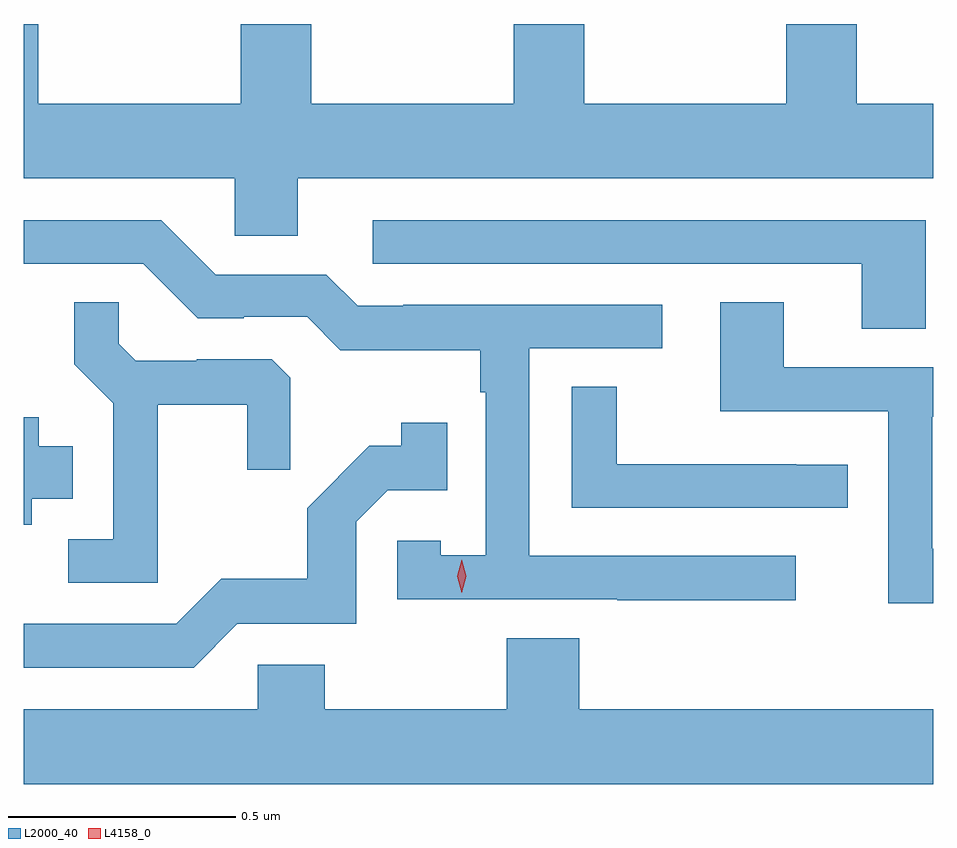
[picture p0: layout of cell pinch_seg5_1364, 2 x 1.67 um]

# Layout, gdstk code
import gdstk
lib = gdstk.Library(unit=1e-6, precision=1e-09)
def P(c, l, *ps):  # polygons
    for p in ps: c.add(gdstk.Polygon(p, *l))
L2000_40 = (2000, 40)
L4158_0 = (4158, 0)

pinch_seg5_1364 = lib.new_cell('pinch_seg5_1364')
P(pinch_seg5_1364, L2000_40, [(312.169,906.044),(313.566,906.044),(313.566,906.208),(313.398,906.208),(313.398,906.383),(313.243,906.383),(313.243,906.208),(312.798,906.208),(312.798,906.383),(312.643,906.383),(312.643,906.208),(312.198,906.208),(312.198,906.383),(312.043,906.383),(312.043,906.208),(311.598,906.208),(311.598,906.383),(311.566,906.383),(311.566,906.044),(312.03,906.044),(312.03,905.917),(312.169,905.917)],
  [(313.264,905.214),(312.678,905.214),(312.678,905.67),(312.97,905.67),(312.97,905.766),(312.4,905.766),(312.4,905.763),(312.3,905.763),(312.231,905.832),(311.988,905.832),(311.868,905.952),(311.566,905.952),(311.566,905.856),(311.829,905.856),(311.949,905.736),(312.05,905.736),(312.05,905.739),(312.189,905.739),(312.262,905.666),(312.57,905.666),(312.57,905.573),(312.582,905.573),(312.582,905.215),(312.483,905.215),(312.483,905.247),(312.387,905.247),(312.387,905.118),(312.871,905.118),(312.871,905.116),(313.264,905.116)],
  [(313.549,905.952),(312.333,905.952),(312.333,905.856),(313.409,905.856),(313.409,905.713),(313.549,905.713)],
  [(311.861,905.546),(312.058,905.546),(312.058,905.403),(312.152,905.403),(312.152,905.605),(312.111,905.646),(311.946,905.646),(311.946,905.643),(311.812,905.643),(311.775,905.68),(311.775,905.771),(311.677,905.771),(311.677,905.635),(311.763,905.549),(311.763,905.25),(311.664,905.25),(311.664,905.154),(311.861,905.154)],
  [(313.566,905.229),(313.564,905.229),(313.564,905.52),(313.566,905.52),(313.566,905.628),(313.237,905.628),(313.237,905.771),(313.097,905.771),(313.097,905.532),(313.467,905.532),(313.467,905.109),(313.566,905.109)],
  [(313.378,905.414),(313.265,905.414),(313.265,905.415),(312.87,905.415),(312.87,905.585),(312.771,905.585),(312.771,905.319),(313.378,905.319)],
  [(311.584,905.339),(311.674,905.339),(311.674,905.455),(311.599,905.455),(311.599,905.518),(311.566,905.518),(311.566,905.282),(311.584,905.282)],
  [(312.036,905.064),(312.297,905.064),(312.297,905.289),(312.366,905.358),(312.497,905.358),(312.497,905.506),(312.396,905.506),(312.396,905.456),(312.326,905.456),(312.189,905.318),(312.189,905.163),(312,905.163),(311.901,905.064),(311.566,905.064),(311.566,904.968),(311.94,904.968)],
  [(313.566,904.876),(312.788,904.876),(312.788,905.033),(312.628,905.033),(312.628,904.876),(312.228,904.876),(312.228,904.974),(312.081,904.974),(312.081,904.876),(311.566,904.876),(311.566,904.712),(313.566,904.712)])
P(pinch_seg5_1364, L4158_0, [(312.529,905.133),(312.529,905.133),(312.519,905.169),(312.529,905.205),(312.529,905.205),(312.529,905.205),(312.539,905.169),(312.529,905.133)])

lib.write_gds('pinch_seg5_1364.gds')
